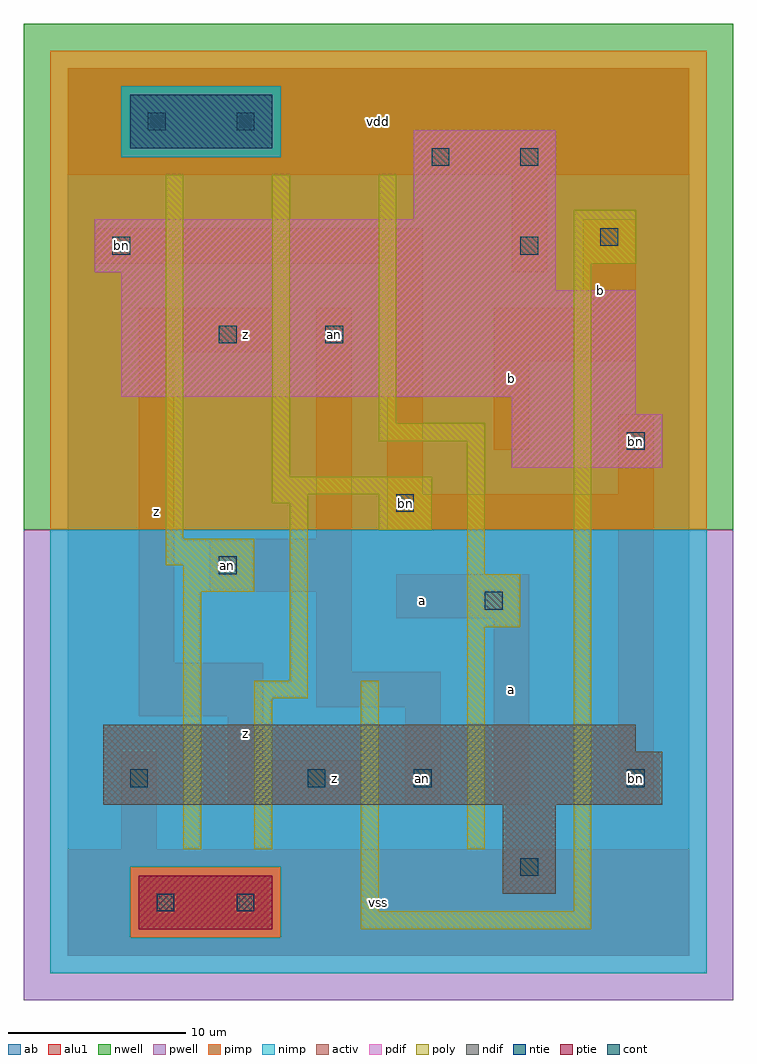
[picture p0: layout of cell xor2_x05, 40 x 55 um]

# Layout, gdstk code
import gdstk
lib = gdstk.Library(unit=1e-6, precision=1e-09)
def R(c, l, rs):  # rectangles x0, y0, x1, y1
    for r in rs: c.add(gdstk.rectangle(r[:2], r[2:], *l))
ndif = (3, 0)
pdif = (4, 0)
ntie = (5, 0)
ptie = (6, 0)
cont = (25, 0)
pwell = (41, 0)
nwell = (42, 0)
activ = (43, 0)
pimp = (44, 0)
nimp = (45, 0)
poly = (46, 0)
alu1 = (49, 0)
ab = (63, 0)

xor2_x05 = lib.new_cell('xor2_x05')
R(xor2_x05, ndif, [(24.5,3.5,27.5,8.5), (2,8.5,33.5,11.5), (2,11.5,32,13)])
R(xor2_x05, pdif, [(25,27.5,33.5,30.5), (25,30.5,32,31.5), (3,31.5,32,37.5), (3,37.5,27.5,38.5), (1.5,38.5,27.5,41.5), (19.5,41.5,27.5,46.5)])
R(xor2_x05, ntie, [(3.5,45.5,11.5,48.5)])
R(xor2_x05, ptie, [(4,1.5,11.5,4.5)])
R(xor2_x05, cont, [(5,2.5,6,3.5), (9.5,2.5,10.5,3.5), (25.5,4.5,26.5,5.5), (3.5,9.5,4.5,10.5), (13.5,9.5,14.5,10.5), (19.5,9.5,20.5,10.5), (31.5,9.5,32.5,10.5), (23.5,19.5,24.5,20.5), (8.5,21.5,9.5,22.5), (18.5,25,19.5,26), (31.5,28.5,32.5,29.5), (8.5,34.5,9.5,35.5), (14.5,34.5,15.5,35.5), (2.5,39.5,3.5,40.5), (25.5,39.5,26.5,40.5), (30,40,31,41), (20.5,44.5,21.5,45.5), (25.5,44.5,26.5,45.5), (4.5,46.5,5.5,47.5), (9.5,46.5,10.5,47.5)])
R(xor2_x05, pwell, [(-2.5,-2.5,37.5,24)])
R(xor2_x05, nwell, [(-2.5,24,37.5,52.5)])
R(xor2_x05, activ, [(4,1.5,11.5,4.5), (24.5,3.5,27.5,8.5), (2,8.5,33.5,11.5), (2,11.5,32,13), (25,27.5,33.5,30.5), (25,30.5,32,31.5), (3,31.5,32,37.5), (3,37.5,27.5,38.5), (1.5,38.5,27.5,41.5), (19.5,41.5,27.5,46.5), (3.5,45.5,11.5,48.5)])
R(xor2_x05, pimp, [(3.5,1,12,5), (-1,24,36,45), (-1,45,3,49), (12,45,36,49), (-1,49,36,51)])
R(xor2_x05, nimp, [(-1,-1,36,1), (-1,1,3.5,5), (12,1,36,5), (-1,5,36,24), (3,45,12,49)])
R(xor2_x05, poly, [(16.5,1.5,29.5,2.5), (16.5,2.5,17.5,15.5), (28.5,2.5,29.5,39), (6.5,6,7.5,20.5), (10.5,6,11.5,14.5), (22.5,6,23.5,18.5), (10.5,14.5,13.5,15.5), (12.5,15.5,13.5,25.5), (22.5,18.5,25.5,21.5), (6.5,20.5,10.5,22), (22.5,21.5,23.5,29), (5.5,22,10.5,23.5), (5.5,23.5,6.5,44), (17.5,24,20.5,26), (11.5,25.5,13.5,26), (11.5,26,20.5,27), (11.5,27,12.5,44), (17.5,29,23.5,30), (17.5,30,18.5,44), (28.5,39,32,42)])
R(xor2_x05, alu1, [(0,0,35,6), (0,0,35,6), (3,6,5,11.5), (3,6,5,11.5), (9,8.5,16.5,11), (9,8.5,16.5,11), (19,8.5,21,14), (19,8.5,21,14), (24,8.5,26,19), (24,8.5,26,19), (31,8.5,33,24), (31,8.5,33,24), (9,11,11,13.5), (9,11,11,13.5), (4,13.5,11,16.5), (4,13.5,11,16.5), (14,14,21,16), (14,14,21,16), (14,16,16,20.5), (14,16,16,20.5), (4,16.5,6,34), (4,16.5,6,34), (18.5,19,26,21.5), (18.5,19,26,21.5), (8,20.5,16,23.5), (8,20.5,16,23.5), (14,23.5,16,36.5), (14,23.5,16,36.5), (18,24,33,26), (18,24,33,26), (18,26,20,39), (18,26,20,39), (31,26,33,30.5), (31,26,33,30.5), (24,28.5,26,33.5), (24,28.5,26,33.5), (24,33.5,32,36.5), (24,33.5,32,36.5), (4,34,11.5,36.5), (4,34,11.5,36.5), (29,36.5,32,41.5), (29,36.5,32,41.5), (25,38.5,27,44), (25,38.5,27,44), (1.5,39,20,41), (1.5,39,20,41), (0,44,35,50), (0,44,35,50)])
R(xor2_x05, ab, [(0,0,35,50)])
xor2_x05.add(gdstk.Label('an', (9,22), layer=49, texttype=0))
xor2_x05.add(gdstk.Label('bn', (3,40), layer=49, texttype=0))
xor2_x05.add(gdstk.Label('an', (20,10), layer=49, texttype=0))
xor2_x05.add(gdstk.Label('bn', (19,25.5), layer=49, texttype=0))
xor2_x05.add(gdstk.Label('an', (15,35), layer=49, texttype=0))
xor2_x05.add(gdstk.Label('bn', (32,10), layer=49, texttype=0))
xor2_x05.add(gdstk.Label('bn', (32,29), layer=49, texttype=0))
xor2_x05.add(gdstk.Label('z', (5,25), layer=49, texttype=0))
xor2_x05.add(gdstk.Label('z', (15,10), layer=49, texttype=0))
xor2_x05.add(gdstk.Label('z', (10,12.5), layer=49, texttype=0))
xor2_x05.add(gdstk.Label('z', (10,35), layer=49, texttype=0))
xor2_x05.add(gdstk.Label('vss', (17.5,3), layer=49, texttype=0))
xor2_x05.add(gdstk.Label('a', (25,15), layer=49, texttype=0))
xor2_x05.add(gdstk.Label('a', (20,20), layer=49, texttype=0))
xor2_x05.add(gdstk.Label('b', (25,32.5), layer=49, texttype=0))
xor2_x05.add(gdstk.Label('vdd', (17.5,47), layer=49, texttype=0))
xor2_x05.add(gdstk.Label('b', (30,37.5), layer=49, texttype=0))

lib.write_gds('xor2_x05.gds')
